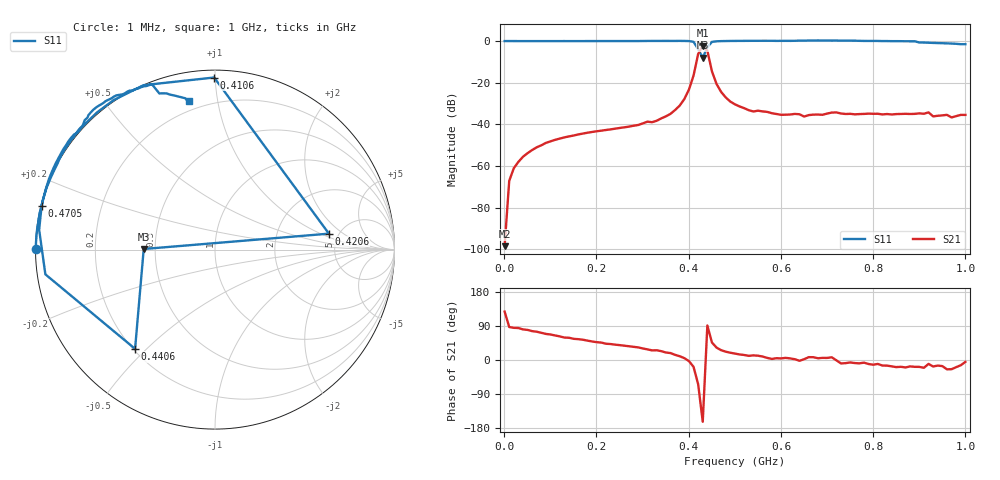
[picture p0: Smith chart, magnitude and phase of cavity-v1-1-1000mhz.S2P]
!File created by NanoVNA
# Hz S RI R 50
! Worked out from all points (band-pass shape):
!   101 points, 1 MHz to 1 GHz, reference 50 ohm
!   highest |S21| = -2.17 dB at 430.6 MHz (marker M1); lowest = -98.5 dB at 1 MHz (marker M2)
!   |S21| within 3 dB of the highest: 423.2 MHz to 441.1 MHz (17.88 MHz wide, 4.14 % of centre)
!   lowest |S11| = -8.0 dB at 430.6 MHz (marker M3), VSWR 2.32, Z = 21.6 + j0.168 ohm
!   |S11| at or under -10 dB: nowhere
!   S12 and S22 are empty: the file has one direction only
!   S11 on the Smith chart (normalised r, x): 1 MHz: 0.00, +0.00; 410.6 MHz: 0.04, +0.99; 420.6 MHz: 4.17, +1.26; 440.6 MHz: 0.21, -0.46; 470.5 MHz: 0.00, +0.12; 1 GHz: 0.15, +0.83
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1000000  -0.9993 0.0017  -7.3e-06 9.43e-06  0 0  0 0
1.099e7  -0.9985 0.0178  2.23e-05 0.000441  0 0  0 0
2.098e7  -0.9977 0.0333  7.95e-05 0.000885  0 0  0 0
4.096e7  -0.9956 0.0643  0.000273 0.00165  0 0  0 0
9.091e7  -0.9861 0.1416  0.00131 0.00336  0 0  0 0
1.7083e8  -0.9611 0.2687  0.00358 0.00484  0 0  0 0
3.4066e8  -0.807 0.6024  0.0128 0.00551  0 0  0 0
3.7063e8  -0.7124 0.7113  0.0215 0.00521  0 0  0 0
3.9061e8  -0.5656 0.8324  0.0403 0.00348  0 0  0 0
4.006e8  -0.3981 0.9161  0.068 -0.00338  0 0  0 0
4.1059e8  -0.00458 0.9588  0.1408 -0.0456  0 0  0 0
4.2058e8  0.6347 0.0889  0.2155 -0.4368  0 0  0 0
4.3057e8  -0.3971 0.00327  -0.7447 -0.2271  0 0  0 0
4.4056e8  -0.4453 -0.553  -0.0106 0.5862  0 0  0 0
4.5055e8  -0.9451 -0.1377  0.1294 0.1341  0 0  0 0
4.7053e8  -0.966 0.2446  0.0539 0.0261  0 0  0 0
5.005e8  -0.9068 0.438  0.0289 0.00879  0 0  0 0
5.4046e8  -0.8433 0.5619  0.0199 0.0043  0 0  0 0
6.7033e8  -0.6903 0.7665  0.017 0.0022  0 0  0 0
8.4016e8  -0.4305 0.8965  0.0165 -0.00498  0 0  0 0
9.7003e8  -0.1888 0.8491  0.0134 -0.00602  0 0  0 0
1e9  -0.1438 0.8272  0.0168 -0.00148  0 0  0 0
